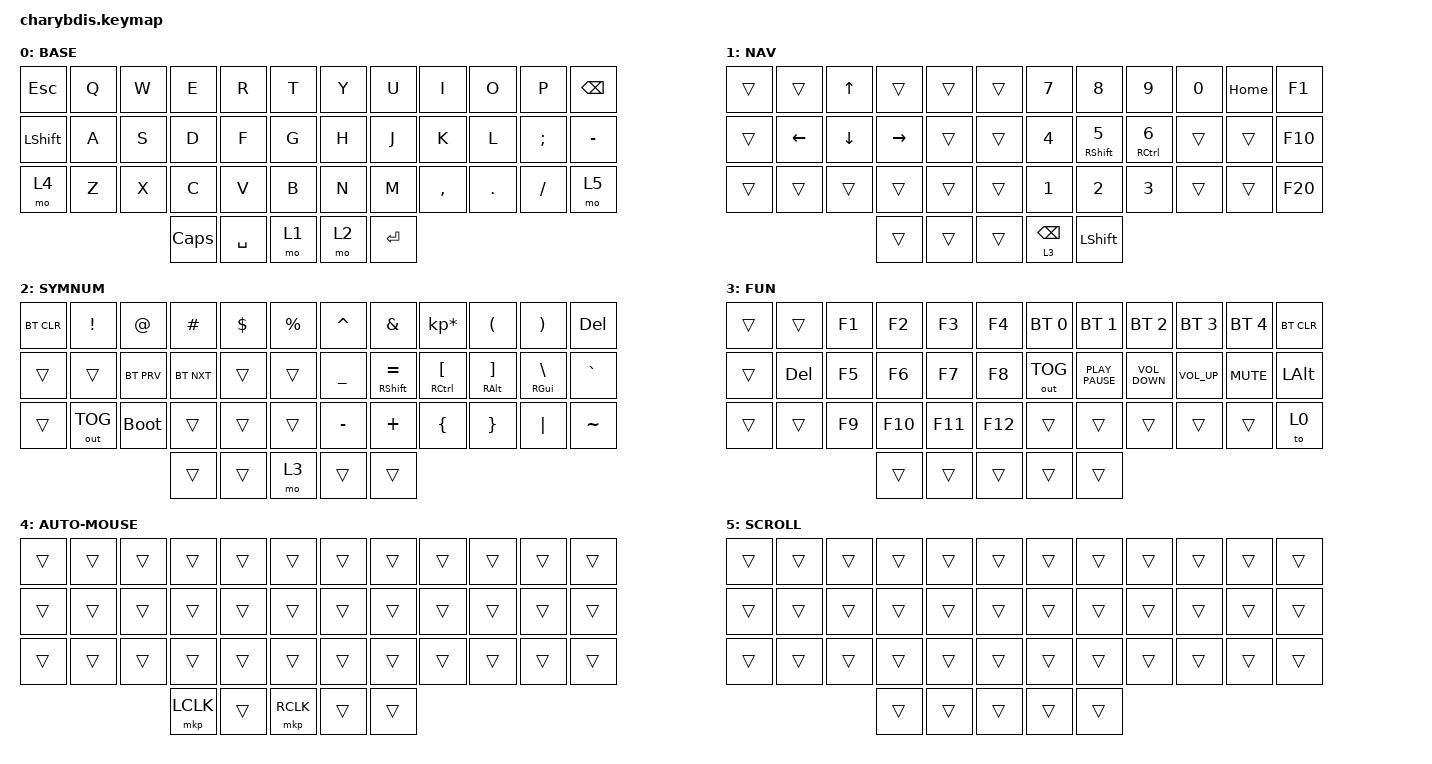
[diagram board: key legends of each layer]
#include <behaviors/mouse_keys.dtsi>
#include <dt-bindings/zmk/mouse.h>
#include <behaviors.dtsi>
#include <dt-bindings/zmk/bt.h>
#include <dt-bindings/zmk/keys.h>
#include <dt-bindings/zmk/outputs.h>
#include <dt-bindings/zmk/pointing.h>

#define U_TAPPING_TERM 200

/ {
    chosen { zmk,matrix_transform = &default_transform; };
};

/ {
    combos { compatible = "zmk,combos"; };

    behaviors {
        u_mt: u_mt {
            compatible = "zmk,behavior-hold-tap";
            label = "u_mt";
            #binding-cells = <2>;
            tapping_term_ms = <U_TAPPING_TERM>;
            flavor = "tap-preferred";
            bindings = <&kp>, <&kp>;
        };

        u_lt: u_lt {
            compatible = "zmk,behavior-hold-tap";
            label = "u_lt";
            #binding-cells = <2>;
            tapping_term_ms = <U_TAPPING_TERM>;
            flavor = "tap-preferred";
            bindings = <&mo>, <&kp>;
        };

        Shift_Enter: Shift_Enter {
            compatible = "zmk,behavior-hold-tap";
            label = "SHIFT_ENTER";
            bindings = <&kp>, <&kp>;

            #binding-cells = <2>;
            hold-trigger-key-positions = <40>;
            tapping-term-ms = <100>;
        };
    };

    keymap {
        compatible = "zmk,keymap";

        BASE {
            bindings = <
&kp ESCAPE      &kp Q  &kp W  &kp E     &kp R      &kp T    &kp Y  &kp U    &kp I      &kp O    &kp P          &kp BSPC
&kp LEFT_SHIFT  &kp A  &kp S  &kp D     &kp F      &kp G    &kp H  &kp J    &kp K      &kp L    &kp SEMICOLON  &kp MINUS
&mo 4           &kp Z  &kp X  &kp C     &kp V      &kp B    &kp N  &kp M    &kp COMMA  &kp DOT  &kp FSLH       &mo 5
                              &kp CLCK  &kp SPACE  &mo 1    &mo 2  &kp RET
            >;
        };

        NAV {
            bindings = <
&trans  &trans    &kp UP    &trans     &trans  &trans    &kp N7           &kp N8                &kp N9          &kp N0  &kp HOME  &kp F1
&trans  &kp LEFT  &kp DOWN  &kp RIGHT  &trans  &trans    &kp N4           &u_mt RIGHT_SHIFT N5  &u_mt RCTRL N6  &trans  &trans    &kp F10
&trans  &trans    &trans    &trans     &trans  &trans    &kp N1           &kp N2                &kp N3          &trans  &trans    &kp F20
                            &trans     &trans  &trans    &lt 3 BACKSPACE  &kp LSHFT
            >;
        };

        SYMNUM {
            bindings = <
&bt BT_CLR  &kp EXCL      &kp AT       &kp HASH    &kp DLLR  &kp PRCNT    &kp CARET  &kp AMPS                 &kp KP_MULTIPLY   &kp LPAR              &kp RPAR              &kp DEL
&trans      &trans        &bt BT_PRV   &bt BT_NXT  &trans    &trans       &kp UNDER  &u_mt RIGHT_SHIFT EQUAL  &u_mt RCTRL LBKT  &u_mt RIGHT_ALT RBKT  &u_mt RIGHT_GUI BSLH  &kp GRAVE
&trans      &out OUT_TOG  &bootloader  &trans      &trans    &trans       &kp MINUS  &kp PLUS                 &kp LBRC          &kp RBRC              &kp PIPE              &kp TILDE
                                       &trans      &trans    &mo 3        &trans     &trans
            >;
        };

        FUN {
            bindings = <
&trans  &trans   &kp F1  &kp F2   &kp F3   &kp F4     &bt BT_SEL 0  &bt BT_SEL 1      &bt BT_SEL 2       &bt BT_SEL 3     &bt BT_SEL 4  &bt BT_CLR
&trans  &kp DEL  &kp F5  &kp F6   &kp F7   &kp F8     &out OUT_TOG  &kp K_PLAY_PAUSE  &kp C_VOLUME_DOWN  &kp C_VOLUME_UP  &kp C_MUTE    &kp LALT
&trans  &trans   &kp F9  &kp F10  &kp F11  &kp F12    &trans        &trans            &trans             &trans           &trans        &to 0
                         &trans   &trans   &trans     &trans        &trans
            >;
        };

        AUTO-MOUSE {
            bindings = <
&trans  &trans  &trans  &trans     &trans  &trans       &trans  &trans  &trans  &trans  &trans  &trans
&trans  &trans  &trans  &trans     &trans  &trans       &trans  &trans  &trans  &trans  &trans  &trans
&trans  &trans  &trans  &trans     &trans  &trans       &trans  &trans  &trans  &trans  &trans  &trans
                        &mkp LCLK  &trans  &mkp RCLK    &trans  &trans
            >;
        };

        SCROLL {
            bindings = <
&trans  &trans  &trans  &trans  &trans  &trans    &trans  &trans  &trans  &trans  &trans  &trans
&trans  &trans  &trans  &trans  &trans  &trans    &trans  &trans  &trans  &trans  &trans  &trans
&trans  &trans  &trans  &trans  &trans  &trans    &trans  &trans  &trans  &trans  &trans  &trans
                        &trans  &trans  &trans    &trans  &trans
            >;
        };
    };
};
